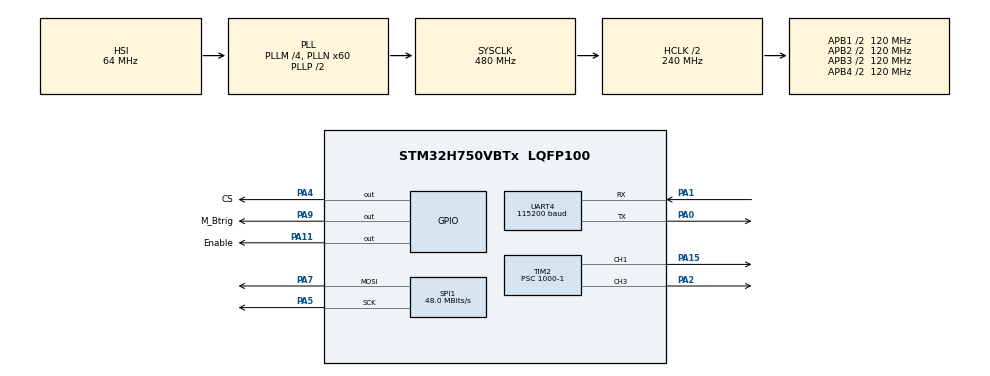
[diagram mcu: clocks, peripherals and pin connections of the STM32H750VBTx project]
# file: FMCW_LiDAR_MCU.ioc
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Mcu.Family=STM32H7
Mcu.Name=STM32H750VBTx
Mcu.Package=LQFP100
NVIC.PriorityGroup=NVIC_PRIORITYGROUP_4
NVIC.TIM6_DAC_IRQn=true\:1\:0\:false\:false\:true\:true\:true\:true
NVIC.UART4_IRQn=true\:0\:0\:false\:false\:true\:true\:true\:true
PA0.Mode=Asynchronous
PA0.Signal=UART4_TX
PA1.Mode=Asynchronous
PA1.Signal=UART4_RX
PA11.GPIO_Label=Enable
PA11.Signal=GPIO_Output
PA15\ (JTDI).Signal=S_TIM2_CH1_ETR
PA2.Signal=S_TIM2_CH3
PA4.GPIO_Label=CS
PA4.GPIO_Speed=GPIO_SPEED_FREQ_HIGH
PA4.PinState=GPIO_PIN_SET
PA4.Signal=GPIO_Output
PA5.GPIO_Speed=GPIO_SPEED_FREQ_HIGH
PA5.Mode=TX_Only_Simplex_Unidirect_Master
PA5.Signal=SPI1_SCK
PA7.GPIO_Speed=GPIO_SPEED_FREQ_HIGH
PA7.Mode=TX_Only_Simplex_Unidirect_Master
PA7.Signal=SPI1_MOSI
PA9.GPIO_Label=M_Btrig
PA9.GPIO_Speed=GPIO_SPEED_FREQ_HIGH
PA9.Signal=GPIO_Output
PC14-OSC32_IN\ (OSC32_IN).Mode=LSE-External-Oscillator
PC14-OSC32_IN\ (OSC32_IN).Signal=RCC_OSC32_IN
PC15-OSC32_OUT\ (OSC32_OUT).Mode=LSE-External-Oscillator
PC15-OSC32_OUT\ (OSC32_OUT).Signal=RCC_OSC32_OUT
PH0-OSC_IN\ (PH0).Mode=HSE-External-Oscillator
PH0-OSC_IN\ (PH0).Signal=RCC_OSC_IN
PH1-OSC_OUT\ (PH1).Mode=HSE-External-Oscillator
PH1-OSC_OUT\ (PH1).Signal=RCC_OSC_OUT
ProjectManager.HeapSize=0x200
ProjectManager.StackSize=0x400
ProjectManager.TargetToolchain=STM32CubeIDE
RCC.ADCFreq_Value=129000000
RCC.APB1Freq_Value=120000000
RCC.APB2Freq_Value=120000000
RCC.APB3Freq_Value=120000000
RCC.APB4Freq_Value=120000000
RCC.CortexFreq_Value=480000000
RCC.D1PPRE=RCC_APB3_DIV2
RCC.D2PPRE1=RCC_APB1_DIV2
RCC.D2PPRE2=RCC_APB2_DIV2
RCC.D3PPRE=RCC_APB4_DIV2
RCC.DIVM1=4
RCC.DIVN1=60
RCC.DIVQ1=5
RCC.HCLKFreq_Value=240000000
RCC.HPRE=RCC_HCLK_DIV2
RCC.PLL2FRACN=0
RCC.PLL3FRACN=0
RCC.PLLFRACN=0
RCC.SYSCLKFreq_VALUE=480000000
RCC.SYSCLKSource=RCC_SYSCLKSOURCE_PLLCLK
RCC.USBFreq_Value=192000000
SH.S_TIM2_CH1_ETR.0=TIM2_CH1,PWM Generation1 CH1
SH.S_TIM2_CH3.0=TIM2_CH3,PWM Generation3 CH3
SPI1.BaudRatePrescaler=SPI_BAUDRATEPRESCALER_4
SPI1.CalculateBaudRate=48.0 MBits/s
SPI1.DataSize=SPI_DATASIZE_24BIT
SPI1.Direction=SPI_DIRECTION_2LINES_TXONLY
SPI1.Mode=SPI_MODE_MASTER
SPI1.VirtualType=VM_MASTER
TIM2.Channel-PWM\ Generation1\ CH1=TIM_CHANNEL_1
TIM2.Channel-PWM\ Generation3\ CH3=TIM_CHANNEL_3
TIM2.Period=13-1
TIM2.Prescaler=1000-1
TIM2.Pulse-PWM\ Generation1\ CH1=6
TIM2.Pulse-PWM\ Generation3\ CH3=6
TIM6.Period=10-1
TIM6.Prescaler=240-1
UART4.BaudRate=115200
VP_MEMORYMAP_VS_MEMORYMAP.Mode=CurAppReg
VP_TIM2_VS_ClockSourceINT.Mode=Internal
VP_TIM6_VS_ClockSourceINT.Mode=Enable_Timer
board=custom

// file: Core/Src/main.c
/* USER CODE BEGIN Header */
/**
  ******************************************************************************
  * @file           : main.c
  * @brief          : Main program body
  ******************************************************************************
  * @attention
  *
  * Copyright (c) 2026 STMicroelectronics.
  * All rights reserved.
  *
  * This software is licensed under terms that can be found in the LICENSE file
  * in the root directory of this software component.
  * If no LICENSE file comes with this software, it is provided AS-IS.
  *
  ******************************************************************************
  */
/* USER CODE END Header */
#include "main.h"

/* USER CODE BEGIN Includes */
#include "spi24_tx.h"
#include "frame_player.h"
#include "uart_cmd.h"
#include "mirrorcle_drv.h"
/* USER CODE END Includes */

SPI_HandleTypeDef hspi1;

TIM_HandleTypeDef htim2;
TIM_HandleTypeDef htim6;

UART_HandleTypeDef huart4;

void SystemClock_Config(void);
static void MX_GPIO_Init(void);
static void MX_SPI1_Init(void);
static void MX_TIM6_Init(void);
static void MX_UART4_Init(void);
static void MX_TIM2_Init(void);
/* USER CODE BEGIN PFP */
static void BootFailureLoop(const char *message);
/* USER CODE END PFP */

/* USER CODE BEGIN 0 */
static void BootFailureLoop(const char *message)
{
  uint32_t last_report = HAL_GetTick();

  Mirrorcle_DisableOutput();
  M_Btrig_GPIO_Port->BSRR = ((uint32_t)M_Btrig_Pin << 16U);
  UARTCMD_SendString(message);

  while (1)
  {
    UARTCMD_Process();
    if ((HAL_GetTick() - last_report) >= 1000U)
    {
      UARTCMD_SendString(message);
      last_report = HAL_GetTick();
    }
  }
}

/* USER CODE END 0 */

int main(void)
{

  /* MCU Configuration--------------------------------------------------------*/

  /* Reset of all peripherals, Initializes the Flash interface and the Systick. */
  HAL_Init();

  /* Configure the system clock */
  SystemClock_Config();

  /* Initialize all configured peripherals */
  MX_GPIO_Init();
  MX_SPI1_Init();
  MX_TIM6_Init();
  MX_UART4_Init();
  MX_TIM2_Init();
  /* USER CODE BEGIN 2 */

  SPI24_Init(&hspi1);
  FramePlayer_Init(&htim6);
  UARTCMD_Init(&huart4);
  Mirrorcle_DisableOutput();

  if (!UARTCMD_StartReceiveIT())
  {
    BootFailureLoop("ERR:BOOT_UART_RX\r\n");
  }

  UARTCMD_SendString("BOOT:FMCW_MCU_DIAG_V1\r\n");

  /* TIM2 CH1/CH3 are independent MEMS mirror drive PWM outputs. */
  if (HAL_TIM_PWM_Start(&htim2, TIM_CHANNEL_1) != HAL_OK ||
      HAL_TIM_PWM_Start(&htim2, TIM_CHANNEL_3) != HAL_OK)
  {
    BootFailureLoop("ERR:BOOT_TIM2_PWM\r\n");
  }
  UARTCMD_SendString("BOOT:TIM2_PWM_READY\r\n");

  /* Allow the MEMS PWM outputs to settle before DAC initialization. */
  HAL_Delay(1);

  /* Initialize the DAC at the safe bias while the output is disabled. */
  if (!Mirrorcle_FullInit(MIRRORCLE_DEFAULT_BIAS_CODE))
  {
    const char *spi_error;

    switch (SPI24_GetStatus())
    {
      case SPI24_STATUS_NOT_INITIALIZED:
        spi_error = "ERR:BOOT_SPI_NOT_INITIALIZED\r\n";
        break;
      case SPI24_STATUS_INVALID_ARGUMENT:
        spi_error = "ERR:BOOT_SPI_INVALID_ARGUMENT\r\n";
        break;
      case SPI24_STATUS_TX_READY_TIMEOUT:
        spi_error = "ERR:BOOT_SPI_TX_READY_TIMEOUT\r\n";
        break;
      case SPI24_STATUS_END_TIMEOUT:
        spi_error = "ERR:BOOT_SPI_END_TIMEOUT\r\n";
        break;
      default:
        spi_error = "ERR:BOOT_SPI_UNKNOWN\r\n";
        break;
    }
    BootFailureLoop(spi_error);
  }

  HAL_Delay(1);

  UARTCMD_SendString("BOOT:READY\r\n");

  /* USER CODE END 2 */

  /* Infinite loop */
  /* USER CODE BEGIN WHILE */
  while (1)
  {
    UARTCMD_Process();

    /* USER CODE END WHILE */

  }
}

void SystemClock_Config(void)
{
  RCC_OscInitTypeDef RCC_OscInitStruct = {0};
  RCC_ClkInitTypeDef RCC_ClkInitStruct = {0};

  /** Supply configuration update enable
  */
  HAL_PWREx_ConfigSupply(PWR_LDO_SUPPLY);

  /** Configure the main internal regulator output voltage
  */
  __HAL_PWR_VOLTAGESCALING_CONFIG(PWR_REGULATOR_VOLTAGE_SCALE0);

  while(!__HAL_PWR_GET_FLAG(PWR_FLAG_VOSRDY)) {}

  /** Initializes the RCC Oscillators according to the specified parameters
  * in the RCC_OscInitTypeDef structure.
  */
  RCC_OscInitStruct.OscillatorType = RCC_OSCILLATORTYPE_HSI;
  RCC_OscInitStruct.HSIState = RCC_HSI_DIV1;
  RCC_OscInitStruct.HSICalibrationValue = RCC_HSICALIBRATION_DEFAULT;
  RCC_OscInitStruct.PLL.PLLState = RCC_PLL_ON;
  RCC_OscInitStruct.PLL.PLLSource = RCC_PLLSOURCE_HSI;
  RCC_OscInitStruct.PLL.PLLM = 4;
  RCC_OscInitStruct.PLL.PLLN = 60;
  RCC_OscInitStruct.PLL.PLLP = 2;
  RCC_OscInitStruct.PLL.PLLQ = 5;
  RCC_OscInitStruct.PLL.PLLR = 2;
  RCC_OscInitStruct.PLL.PLLRGE = RCC_PLL1VCIRANGE_3;
  RCC_OscInitStruct.PLL.PLLVCOSEL = RCC_PLL1VCOWIDE;
  RCC_OscInitStruct.PLL.PLLFRACN = 0;
  if (HAL_RCC_OscConfig(&RCC_OscInitStruct) != HAL_OK)
  {
    Error_Handler();
  }

  /** Initializes the CPU, AHB and APB buses clocks
  */
  RCC_ClkInitStruct.ClockType = RCC_CLOCKTYPE_HCLK|RCC_CLOCKTYPE_SYSCLK
                              |RCC_CLOCKTYPE_PCLK1|RCC_CLOCKTYPE_PCLK2
                              |RCC_CLOCKTYPE_D3PCLK1|RCC_CLOCKTYPE_D1PCLK1;
  RCC_ClkInitStruct.SYSCLKSource = RCC_SYSCLKSOURCE_PLLCLK;
  RCC_ClkInitStruct.SYSCLKDivider = RCC_SYSCLK_DIV1;
  RCC_ClkInitStruct.AHBCLKDivider = RCC_HCLK_DIV2;
  RCC_ClkInitStruct.APB3CLKDivider = RCC_APB3_DIV2;
  RCC_ClkInitStruct.APB1CLKDivider = RCC_APB1_DIV2;
  RCC_ClkInitStruct.APB2CLKDivider = RCC_APB2_DIV2;
  RCC_ClkInitStruct.APB4CLKDivider = RCC_APB4_DIV2;

  if (HAL_RCC_ClockConfig(&RCC_ClkInitStruct, FLASH_LATENCY_4) != HAL_OK)
  {
    Error_Handler();
  }
}

static void MX_SPI1_Init(void)
{

  /* SPI1 parameter configuration*/
  hspi1.Instance = SPI1;
  hspi1.Init.Mode = SPI_MODE_MASTER;
  hspi1.Init.Direction = SPI_DIRECTION_2LINES_TXONLY;
  hspi1.Init.DataSize = SPI_DATASIZE_24BIT;
  hspi1.Init.CLKPolarity = SPI_POLARITY_LOW;
  hspi1.Init.CLKPhase = SPI_PHASE_1EDGE;
  hspi1.Init.NSS = SPI_NSS_SOFT;
  hspi1.Init.BaudRatePrescaler = SPI_BAUDRATEPRESCALER_4;
  hspi1.Init.FirstBit = SPI_FIRSTBIT_MSB;
  hspi1.Init.TIMode = SPI_TIMODE_DISABLE;
  hspi1.Init.CRCCalculation = SPI_CRCCALCULATION_DISABLE;
  hspi1.Init.CRCPolynomial = 0x0;
  hspi1.Init.NSSPMode = SPI_NSS_PULSE_ENABLE;
  hspi1.Init.NSSPolarity = SPI_NSS_POLARITY_LOW;
  hspi1.Init.FifoThreshold = SPI_FIFO_THRESHOLD_01DATA;
  hspi1.Init.TxCRCInitializationPattern = SPI_CRC_INITIALIZATION_ALL_ZERO_PATTERN;
  hspi1.Init.RxCRCInitializationPattern = SPI_CRC_INITIALIZATION_ALL_ZERO_PATTERN;
  hspi1.Init.MasterSSIdleness = SPI_MASTER_SS_IDLENESS_00CYCLE;
  hspi1.Init.MasterInterDataIdleness = SPI_MASTER_INTERDATA_IDLENESS_00CYCLE;
  hspi1.Init.MasterReceiverAutoSusp = SPI_MASTER_RX_AUTOSUSP_DISABLE;
  hspi1.Init.MasterKeepIOState = SPI_MASTER_KEEP_IO_STATE_DISABLE;
  hspi1.Init.IOSwap = SPI_IO_SWAP_DISABLE;
  if (HAL_SPI_Init(&hspi1) != HAL_OK)
  {
    Error_Handler();
  }

}

static void MX_TIM2_Init(void)
{

  TIM_ClockConfigTypeDef sClockSourceConfig = {0};
  TIM_MasterConfigTypeDef sMasterConfig = {0};
  TIM_OC_InitTypeDef sConfigOC = {0};

  htim2.Instance = TIM2;
  htim2.Init.Prescaler = 1000-1;
  htim2.Init.CounterMode = TIM_COUNTERMODE_UP;
  htim2.Init.Period = 13-1;
  htim2.Init.ClockDivision = TIM_CLOCKDIVISION_DIV1;
  htim2.Init.AutoReloadPreload = TIM_AUTORELOAD_PRELOAD_DISABLE;
  if (HAL_TIM_Base_Init(&htim2) != HAL_OK)
  {
    Error_Handler();
  }
  sClockSourceConfig.ClockSource = TIM_CLOCKSOURCE_INTERNAL;
  if (HAL_TIM_ConfigClockSource(&htim2, &sClockSourceConfig) != HAL_OK)
  {
    Error_Handler();
  }
  if (HAL_TIM_PWM_Init(&htim2) != HAL_OK)
  {
    Error_Handler();
  }
  sMasterConfig.MasterOutputTrigger = TIM_TRGO_RESET;
  sMasterConfig.MasterSlaveMode = TIM_MASTERSLAVEMODE_DISABLE;
  if (HAL_TIMEx_MasterConfigSynchronization(&htim2, &sMasterConfig) != HAL_OK)
  {
    Error_Handler();
  }
  sConfigOC.OCMode = TIM_OCMODE_PWM1;
  sConfigOC.Pulse = 6;
  sConfigOC.OCPolarity = TIM_OCPOLARITY_HIGH;
  sConfigOC.OCFastMode = TIM_OCFAST_DISABLE;
  if (HAL_TIM_PWM_ConfigChannel(&htim2, &sConfigOC, TIM_CHANNEL_1) != HAL_OK)
  {
    Error_Handler();
  }
  if (HAL_TIM_PWM_ConfigChannel(&htim2, &sConfigOC, TIM_CHANNEL_3) != HAL_OK)
  {
    Error_Handler();
  }
  HAL_TIM_MspPostInit(&htim2);

}

static void MX_TIM6_Init(void)
{

  TIM_MasterConfigTypeDef sMasterConfig = {0};

  htim6.Instance = TIM6;
  htim6.Init.Prescaler = 240-1;
  htim6.Init.CounterMode = TIM_COUNTERMODE_UP;
  htim6.Init.Period = 10-1;
  htim6.Init.AutoReloadPreload = TIM_AUTORELOAD_PRELOAD_DISABLE;
  if (HAL_TIM_Base_Init(&htim6) != HAL_OK)
  {
    Error_Handler();
  }
  sMasterConfig.MasterOutputTrigger = TIM_TRGO_RESET;
  sMasterConfig.MasterSlaveMode = TIM_MASTERSLAVEMODE_DISABLE;
  if (HAL_TIMEx_MasterConfigSynchronization(&htim6, &sMasterConfig) != HAL_OK)
  {
    Error_Handler();
  }

}

static void MX_UART4_Init(void)
{

  huart4.Instance = UART4;
  huart4.Init.BaudRate = 115200;
  huart4.Init.WordLength = UART_WORDLENGTH_8B;
  huart4.Init.StopBits = UART_STOPBITS_1;
  huart4.Init.Parity = UART_PARITY_NONE;
  huart4.Init.Mode = UART_MODE_TX_RX;
  huart4.Init.HwFlowCtl = UART_HWCONTROL_NONE;
  huart4.Init.OverSampling = UART_OVERSAMPLING_16;
  huart4.Init.OneBitSampling = UART_ONE_BIT_SAMPLE_DISABLE;
  huart4.Init.ClockPrescaler = UART_PRESCALER_DIV1;
  huart4.AdvancedInit.AdvFeatureInit = UART_ADVFEATURE_NO_INIT;
  if (HAL_UART_Init(&huart4) != HAL_OK)
  {
    Error_Handler();
  }
  if (HAL_UARTEx_SetTxFifoThreshold(&huart4, UART_TXFIFO_THRESHOLD_1_8) != HAL_OK)
  {
    Error_Handler();
  }
  if (HAL_UARTEx_SetRxFifoThreshold(&huart4, UART_RXFIFO_THRESHOLD_1_8) != HAL_OK)
  {
    Error_Handler();
  }
  if (HAL_UARTEx_DisableFifoMode(&huart4) != HAL_OK)
  {
    Error_Handler();
  }

}

static void MX_GPIO_Init(void)
{
  GPIO_InitTypeDef GPIO_InitStruct = {0};

  /* GPIO Ports Clock Enable */
  __HAL_RCC_GPIOC_CLK_ENABLE();
  __HAL_RCC_GPIOH_CLK_ENABLE();
  __HAL_RCC_GPIOA_CLK_ENABLE();

  /*Configure GPIO pin Output Level */
  HAL_GPIO_WritePin(CS_GPIO_Port, CS_Pin, GPIO_PIN_SET);

  /*Configure GPIO pin Output Level */
  HAL_GPIO_WritePin(GPIOA, M_Btrig_Pin|Enable_Pin, GPIO_PIN_RESET);

  /*Configure GPIO pins : CS_Pin M_Btrig_Pin */
  GPIO_InitStruct.Pin = CS_Pin|M_Btrig_Pin;
  GPIO_InitStruct.Mode = GPIO_MODE_OUTPUT_PP;
  GPIO_InitStruct.Pull = GPIO_NOPULL;
  GPIO_InitStruct.Speed = GPIO_SPEED_FREQ_HIGH;
  HAL_GPIO_Init(GPIOA, &GPIO_InitStruct);

  /*Configure GPIO pin : Enable_Pin */
  GPIO_InitStruct.Pin = Enable_Pin;
  GPIO_InitStruct.Mode = GPIO_MODE_OUTPUT_PP;
  GPIO_InitStruct.Pull = GPIO_NOPULL;
  GPIO_InitStruct.Speed = GPIO_SPEED_FREQ_LOW;
  HAL_GPIO_Init(Enable_GPIO_Port, &GPIO_InitStruct);

}

/* USER CODE BEGIN 4 */

void HAL_TIM_PeriodElapsedCallback(TIM_HandleTypeDef *htim)
{
    if (htim->Instance == TIM6)
    {
        FramePlayer_OnTimTick();
    }
}

void HAL_UART_RxCpltCallback(UART_HandleTypeDef *huart)
{
    UARTCMD_RxCpltCallback(huart);
}

void HAL_UART_ErrorCallback(UART_HandleTypeDef *huart)
{
    UARTCMD_ErrorCallback(huart);
}

/* USER CODE END 4 */

void Error_Handler(void)
{
  /* USER CODE BEGIN Error_Handler_Debug */
  Enable_GPIO_Port->BSRR = ((uint32_t)Enable_Pin << 16U);
  M_Btrig_GPIO_Port->BSRR = ((uint32_t)M_Btrig_Pin << 16U);
  UARTCMD_SendString("ERR:FATAL\r\n");
  __disable_irq();
  while (1)
  {
  }
  /* USER CODE END Error_Handler_Debug */
}
